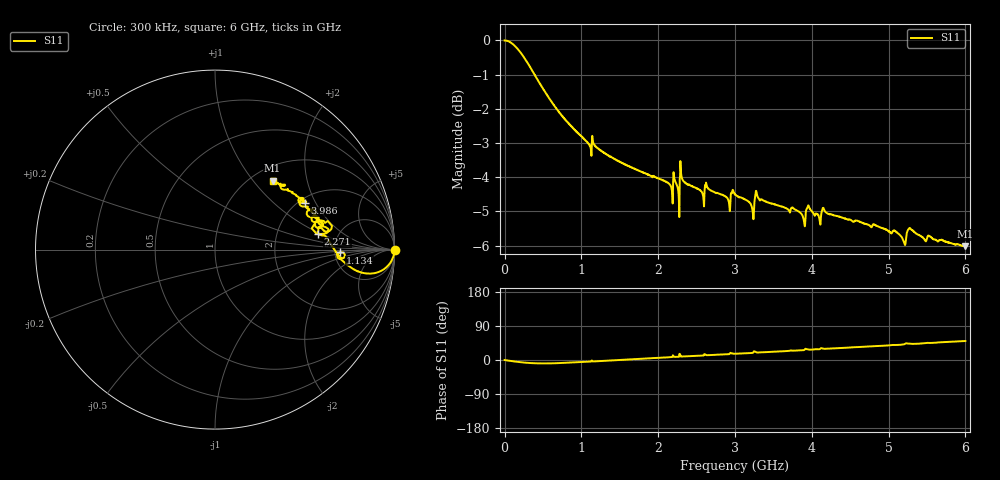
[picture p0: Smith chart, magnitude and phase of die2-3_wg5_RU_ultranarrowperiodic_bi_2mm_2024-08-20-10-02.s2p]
!Keysight Technologies,P9374A,MY57304198,A.17.20.09
!Date: Tuesday, August 20, 2024 10:02:39
!Correction: S11(C  1-Port  )
!S21(C  1-Port  )
!S12(Off)
!S22(Off)
!S2P File: Measurements: S11, S21, S12, S22:
# Hz S  dB  R 50
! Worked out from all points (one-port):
!   6000 points, 300 kHz to 6 GHz, reference 50 ohm
!   lowest |S11| = -6.0 dB at 5.998 GHz (marker M1), VSWR 3.00, Z = 61.6 + j63 ohm
!   |S11| at or under -10 dB: nowhere
!   S11 on the Smith chart (normalised r, x): 300 kHz: open; 1.134 GHz: 5.57, -0.34; 2.271 GHz: 3.49, +0.91; 3.986 GHz: 2.16, +1.64; 6 GHz: 1.23, +1.26
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300000  0.00 -0.0  -200.00 45.0  -200.00 45.0  -200.00 45.0
2.043238e8  -0.34 -5.8  -200.00 45.0  -200.00 45.0  -200.00 45.0
3.823446e8  -0.96 -8.5  -200.00 45.0  -200.00 45.0  -200.00 45.0
6.743786e8  -1.99 -8.4  -200.00 45.0  -200.00 45.0  -200.00 45.0
1.000417e9  -2.80 -5.6  -200.00 45.0  -200.00 45.0  -200.00 45.0
1.134432e9  -3.14 -1.3  -200.00 45.0  -200.00 45.0  -200.00 45.0
2.000533e9  -4.03 5.7  -200.00 45.0  -200.00 45.0  -200.00 45.0
2.242562e9  -4.22 8.3  -200.00 45.0  -200.00 45.0  -200.00 45.0
2.270565e9  -4.75 8.6  -200.00 45.0  -200.00 45.0  -200.00 45.0
2.31557e9  -4.07 9.2  -200.00 45.0  -200.00 45.0  -200.00 45.0
2.5756e9  -4.47 11.7  -200.00 45.0  -200.00 45.0  -200.00 45.0
3.00065e9  -4.50 16.5  -200.00 45.0  -200.00 45.0  -200.00 45.0
3.228677e9  -4.98 18.7  -200.00 45.0  -200.00 45.0  -200.00 45.0
3.294684e9  -4.57 19.8  -200.00 45.0  -200.00 45.0  -200.00 45.0
3.901755e9  -5.34 26.5  -200.00 45.0  -200.00 45.0  -200.00 45.0
3.985765e9  -4.96 27.3  -200.00 45.0  -200.00 45.0  -200.00 45.0
4.000767e9  -5.00 27.4  -200.00 45.0  -200.00 45.0  -200.00 45.0
5.000883e9  -5.58 38.5  -200.00 45.0  -200.00 45.0  -200.00 45.0
5.185905e9  -5.83 40.7  -200.00 45.0  -200.00 45.0  -200.00 45.0
5.254913e9  -5.54 43.3  -200.00 45.0  -200.00 45.0  -200.00 45.0
5.998e9  -6.02 50.1  -200.00 45.0  -200.00 45.0  -200.00 45.0
6e9  -6.02 50.1  -200.00 45.0  -200.00 45.0  -200.00 45.0
